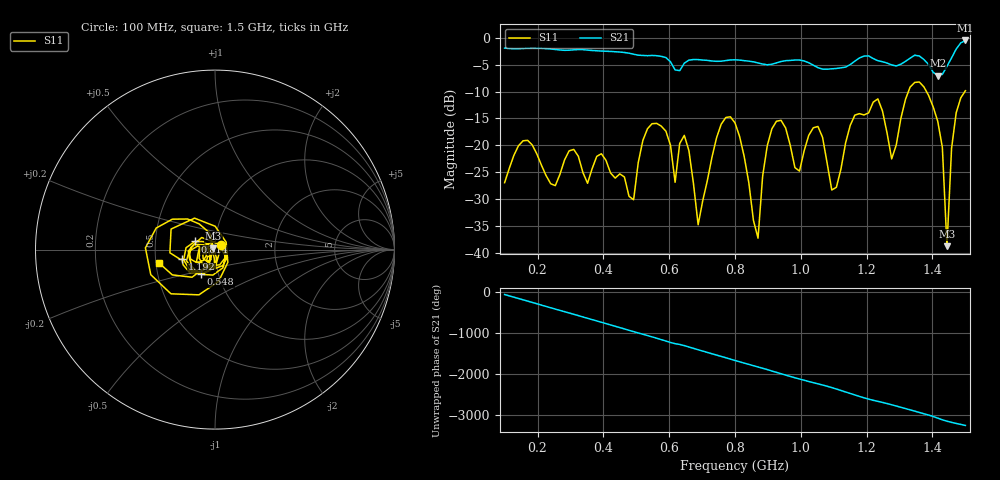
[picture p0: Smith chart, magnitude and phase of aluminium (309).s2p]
! NanoVNA-App
! Date: 2025-09-25 14:57:41
! Start: 100MHz Stop: 1,5GHz Points: 101
! S-Parameter data: F S11 S21 S12 S22
# Hz S RI R 50
!  Frequency  S11_Real  S11_Imag  S21_Real  S21_Imag  S12_Real  S12_Imag  S22_Real  S22_Imag
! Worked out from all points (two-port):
!   101 points, 100 MHz to 1.5 GHz, reference 50 ohm
!   highest |S21| = -0.50 dB at 1.5 GHz (marker M1); lowest = -7.0 dB at 1.416 GHz (marker M2)
!   |S21| within 3 dB of the highest: start of sweep to 578.5 MHz; 1.46 GHz to end of sweep (the widest 2 of 4)
!   lowest |S11| = -38.8 dB at 1.444 GHz (marker M3), VSWR 1.02, Z = 49.1 + j0.684 ohm
!   |S11| at or under -10 dB: start of sweep to 1.327 GHz; 1.382 GHz to 1.498 GHz (116.7 MHz wide, 8.11 % of centre)
!   S12 and S22 are empty: the file has one direction only
!   S11 on the Smith chart (normalised r, x): 100 MHz: 1.07, +0.06; 548 MHz: 0.82, -0.23; 814 MHz: 0.80, +0.07; 1.192 GHz: 0.69, -0.08; 1.5 GHz: 0.52, -0.08
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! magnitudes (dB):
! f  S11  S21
! 100 MHz  -27.0  -1.9
! 338 MHz  -25.1  -2.2
! 492 MHz  -30.1  -3.1
! 548 MHz  -16.0  -3.3
! 576 MHz  -16.4  -3.5
! 618 MHz  -26.9  -6.0
! 646 MHz  -18.2  -4.7
! 688 MHz  -34.8  -4.1
! 800 MHz  -15.8  -4.1
! 814 MHz  -18.4  -4.2
! 870 MHz  -37.3  -4.7
! 912 MHz  -16.9  -4.9
! 996 MHz  -24.8  -4.1
! 1.038 GHz  -16.7  -5.1
! 1.094 GHz  -28.3  -5.8
! 1.192 GHz  -14.4  -3.4
! 1.276 GHz  -22.5  -5.0
! 1.346 GHz  -8.3  -3.2
! 1.416 GHz  -15.5  -7.0
! 1.444 GHz  -38.8  -5.3
! 1.458 GHz  -20.6  -3.7
! 1.5 GHz  -9.8  -0.5
